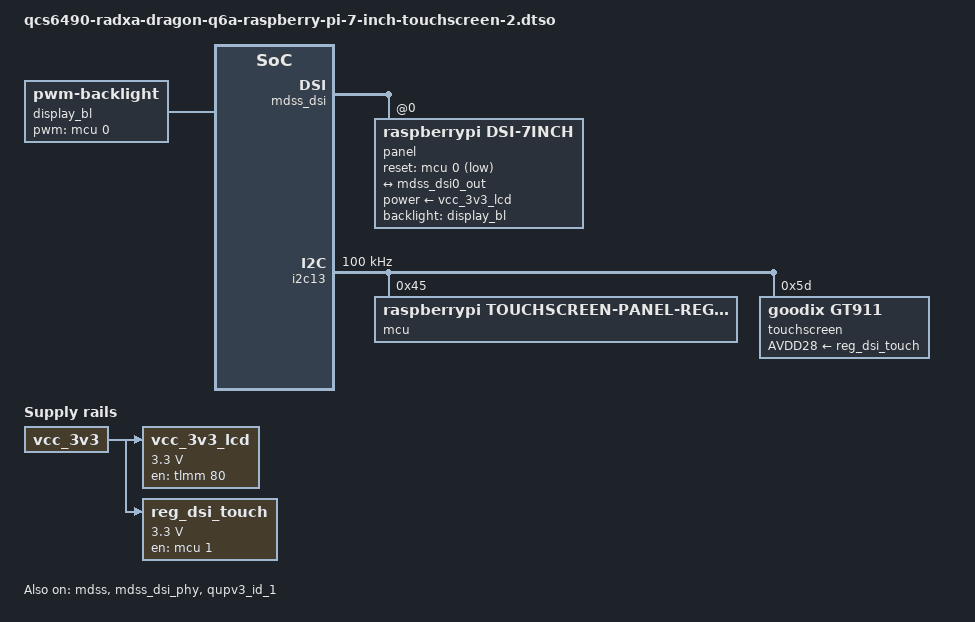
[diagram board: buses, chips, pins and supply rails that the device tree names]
// SPDX-License-Identifier: BSD-3-Clause
/*
 * Copyright (c) 2025 Radxa Computer (Shenzhen) Co., Ltd.
 */

/dts-v1/;
/plugin/;

#include <dt-bindings/gpio/gpio.h>

/ {
	metadata {
		title = "Enable Raspberry Pi Touch Display 2";
		compatible = "radxa,dragon-q6a";
		category = "display";
		exclusive = "mdss_dsi";
		description = "Enable Raspberry Pi Touch Display 2.
The display requires an external 5V power supply
with a common ground.";
	};
};

&{/} {
	vcc_3v3_lcd: regulator-vcc-3v3-lcd {
		compatible = "regulator-fixed";
		regulator-name = "vcc_3v3_lcd";
		regulator-min-microvolt = <3300000>;
		regulator-max-microvolt = <3300000>;
		gpio = <&tlmm 80 GPIO_ACTIVE_HIGH>;
		enable-active-high;
		vin-supply = <&vcc_3v3>;
		regulator-always-on;
	};

	display_bl: backlight {
		compatible = "pwm-backlight";
		pwms = <&mcu 0 255 0>;
	};

	reg_dsi_touch: regulator-dsi-touch {
		compatible = "regulator-fixed";
		regulator-name = "rpi-touch";
		regulator-min-microvolt = <3300000>;
		regulator-max-microvolt = <3300000>;
		gpio = <&mcu 1 GPIO_ACTIVE_HIGH>;
		enable-active-high;
		startup-delay-us = <50000>;
		vin-supply = <&vcc_3v3>;
	};
};

&mdss {
	status = "okay";
};

&mdss_dsi {
	vdda-supply = <&vreg_l6b_1p2>;
	#address-cells = <1>;
	#size-cells = <0>;
	status = "okay";

	panel@0 {
		compatible = "raspberrypi,dsi-7inch", "ilitek,ili9881c";
		reg = <0>;
		reset-gpios = <&mcu 0 GPIO_ACTIVE_LOW>;
		power-supply = <&vcc_3v3_lcd>;
		backlight = <&display_bl>;

		port {
			panel_in_dsi: endpoint {
				remote-endpoint = <&mdss_dsi0_out>;
			};
		};
	};
};

&mdss_dsi0_out {
	remote-endpoint = <&panel_in_dsi>;
	data-lanes = <0 1>;
};

&mdss_dsi_phy {
	vdds-supply = <&vreg_l10c_0p88>;
	status = "okay";
};

&qupv3_id_1 {
	status = "okay";
};

&i2c13 {
	clock-frequency = <100000>;
	#address-cells = <1>;
	#size-cells = <0>;
	status = "okay";

	mcu: regulator@45 {
		compatible = "raspberrypi,touchscreen-panel-regulator-v2";
		reg = <0x45>;
		gpio-controller;
		#gpio-cells = <2>;
		#pwm-cells = <3>;
	};

	touchscreen@5d {
		compatible = "goodix,gt911";
		reg = <0x5d>;
		AVDD28-supply = <&reg_dsi_touch>;
		touchscreen-size-x = <720>;
		touchscreen-size-y = <1280>;
	};
};
